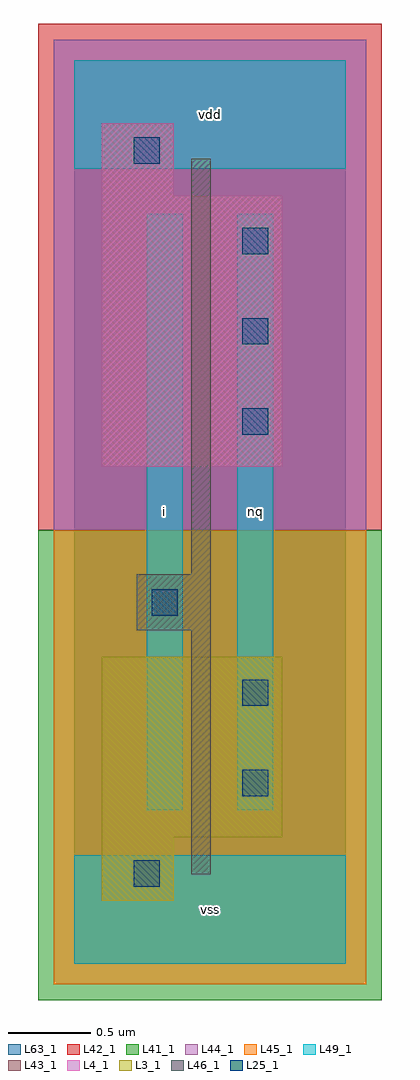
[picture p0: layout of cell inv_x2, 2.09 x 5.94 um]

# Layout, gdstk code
import gdstk
lib = gdstk.Library(unit=1e-6, precision=1e-09)
def R(c, l, rs):  # rectangles x0, y0, x1, y1
    for r in rs: c.add(gdstk.rectangle(r[:2], r[2:], *l))
def A(c, l, x, y, w, h, nx, ny, dx, dy):  # array of equal rectangles
    R(c, l, [(x+i*dx, y+j*dy, x+i*dx+w, y+j*dy+h) for i in range(nx) for j in range(ny)])
L3_1 = (3, 1)
L4_1 = (4, 1)
L25_1 = (25, 1)
L41_1 = (41, 1)
L42_1 = (42, 1)
L43_1 = (43, 1)
L44_1 = (44, 1)
L45_1 = (45, 1)
L46_1 = (46, 1)
L49_1 = (49, 1)
L63_1 = (63, 1)

inv_x2 = lib.new_cell('inv_x2')
R(inv_x2, L3_1, [(0.165,0.385,0.605,0.77), (0.165,0.77,1.265,1.87)])
R(inv_x2, L4_1, [(0.165,3.025,1.265,4.675), (0.165,4.675,0.605,5.115)])
A(inv_x2, L25_1, 1.02, 3.22, 0.16, 0.16, 1, 3, 0, 0.55)
R(inv_x2, L25_1, [(0.36,0.47,0.52,0.63), (1.02,1.02,1.18,1.18), (1.02,1.57,1.18,1.73), (0.47,2.12,0.63,2.28), (0.36,4.87,0.52,5.03)])
R(inv_x2, L41_1, [(-0.22,-0.22,1.87,2.64)])
R(inv_x2, L42_1, [(-0.22,2.64,1.87,5.72)])
R(inv_x2, L43_1, [(0.165,0.385,0.605,0.77), (0.165,0.77,1.265,1.87), (0.165,3.025,1.265,4.675), (0.165,4.675,0.605,5.115)])
R(inv_x2, L44_1, [(-0.125,2.64,1.775,5.625)])
R(inv_x2, L45_1, [(-0.125,-0.125,1.775,2.64)])
R(inv_x2, L46_1, [(0.71,0.545,0.83,2.03), (0.38,2.03,0.83,2.37), (0.71,2.37,0.83,4.9)])
R(inv_x2, L49_1, [(0,0,1.65,0.66), (0.44,0.935,0.66,4.565), (0.99,0.935,1.21,4.565), (0,4.84,1.65,5.5)])
R(inv_x2, L63_1, [(0,0,1.65,5.5)])
inv_x2.add(gdstk.Label('vss', (0.825,0.33), layer=49, texttype=1))
inv_x2.add(gdstk.Label('i', (0.55,2.75), layer=49, texttype=1))
inv_x2.add(gdstk.Label('vdd', (0.825,5.17), layer=49, texttype=1))
inv_x2.add(gdstk.Label('nq', (1.1,2.75), layer=49, texttype=1))

lib.write_gds('inv_x2.gds')
